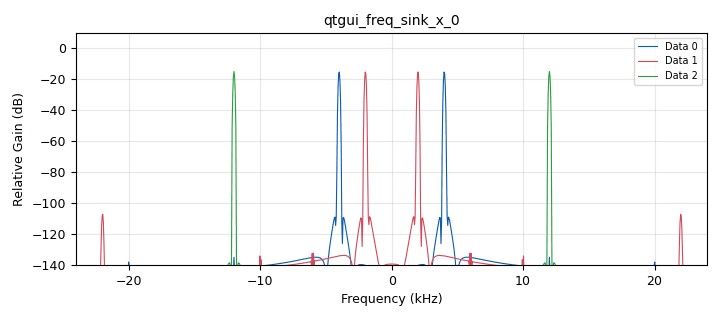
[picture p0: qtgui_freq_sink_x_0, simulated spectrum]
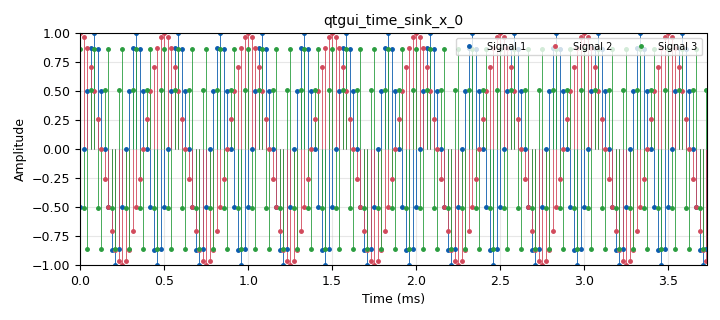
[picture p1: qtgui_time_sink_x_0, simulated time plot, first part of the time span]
options:
  parameters:
    author: Over_amaya_angie_chaparro_L1C_G4
    generate_options: qt_gui
    id: lab_p2_5
    output_language: python
    title: lab_p2_5
  states: {}

blocks:
- name: freq
  id: variable_qtgui_range
  parameters:
    label: freuency
    start: '1000'
    step: '1000'
    stop: '40000'
    value: '4000'
  states: {}
- name: samp_rate
  id: variable
  parameters:
    value: '48000'
  states: {}
- name: analog_sig_source_x_0
  id: analog_sig_source_x
  parameters:
    amp: '1'
    freq: freq
    offset: '0'
    phase: '0'
    samp_rate: samp_rate
    type: float
    waveform: analog.GR_COS_WAVE
  states: {}
- name: analog_sig_source_x_1
  id: analog_sig_source_x
  parameters:
    amp: '1'
    freq: freq
    offset: '0'
    phase: '0'
    samp_rate: samp_rate
    type: float
    waveform: analog.GR_COS_WAVE
  states: {}
- name: analog_sig_source_x_2
  id: analog_sig_source_x
  parameters:
    amp: '1'
    freq: freq
    offset: '0'
    phase: '0'
    samp_rate: samp_rate
    type: float
    waveform: analog.GR_COS_WAVE
  states: {}
- name: blocks_throttle_0
  id: blocks_throttle
  parameters:
    samples_per_second: samp_rate
    type: float
  states: {}
- name: qtgui_freq_sink_x_0
  id: qtgui_freq_sink_x
  parameters:
    bw: samp_rate
    fc: '0'
    fftsize: '1024'
    nconnections: '3'
    type: float
  states: {}
- name: qtgui_time_sink_x_0
  id: qtgui_time_sink_x
  parameters:
    grid: 'True'
    nconnections: '3'
    size: '1024'
    srate: samp_rate
    stemplot: 'True'
    type: float
  states: {}
- name: rational_resampler_xxx_0
  id: rational_resampler_xxx
  parameters:
    decim: '1'
    interp: '1'
    type: fff
  states: {}
- name: rational_resampler_xxx_1
  id: rational_resampler_xxx
  parameters:
    decim: '3'
    interp: '1'
    type: fff
  states: {}
- name: rational_resampler_xxx_2
  id: rational_resampler_xxx
  parameters:
    decim: '1'
    interp: '2'
    type: fff
  states: {}

connections:
- [analog_sig_source_x_0, '0', rational_resampler_xxx_1, '0']
- [analog_sig_source_x_1, '0', rational_resampler_xxx_0, '0']
- [analog_sig_source_x_2, '0', rational_resampler_xxx_2, '0']
- [blocks_throttle_0, '0', qtgui_freq_sink_x_0, '0']
- [blocks_throttle_0, '0', qtgui_time_sink_x_0, '0']
- [rational_resampler_xxx_0, '0', blocks_throttle_0, '0']
- [rational_resampler_xxx_1, '0', qtgui_freq_sink_x_0, '2']
- [rational_resampler_xxx_1, '0', qtgui_time_sink_x_0, '2']
- [rational_resampler_xxx_2, '0', qtgui_freq_sink_x_0, '1']
- [rational_resampler_xxx_2, '0', qtgui_time_sink_x_0, '1']

metadata:
  file_format: 1
